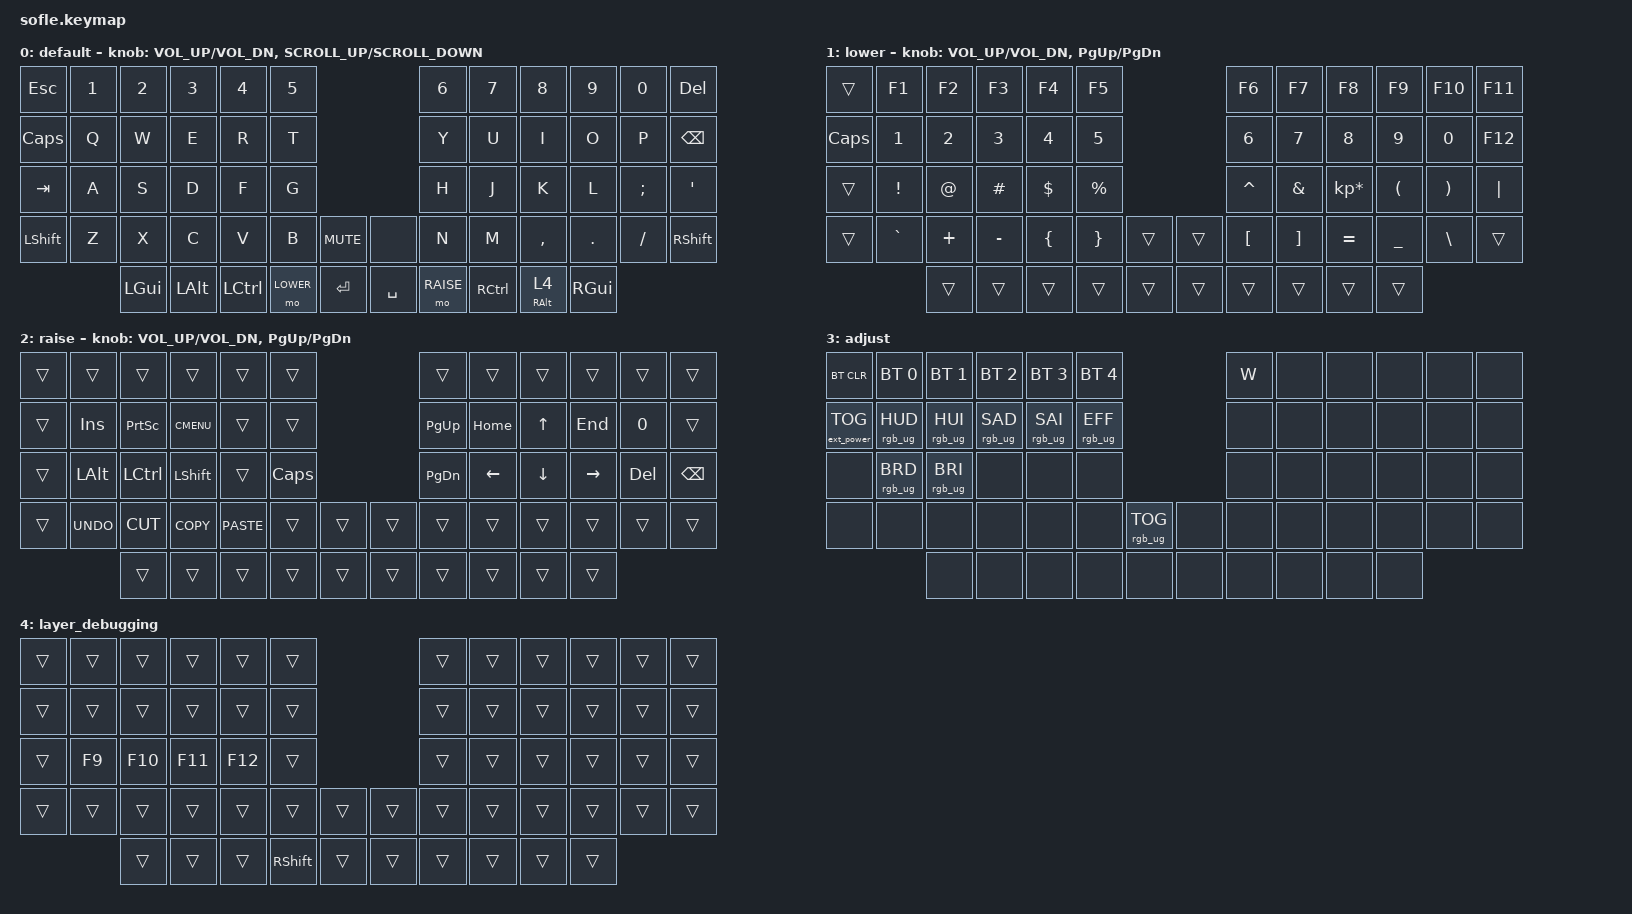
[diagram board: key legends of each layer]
/*
 * Copyright (c) 2020 The ZMK Contributors
 *
 * SPDX-License-Identifier: MIT
 */

#include <behaviors.dtsi>
#include <dt-bindings/zmk/bt.h>
#include <dt-bindings/zmk/ext_power.h>
#include <dt-bindings/zmk/keys.h>
#include <dt-bindings/zmk/rgb.h>

#define BASE 0
#define LOWER 1
#define RAISE 2
#define ADJUST 3

/ {
    // Activate ADJUST layer by pressing raise and lower

    conditional_layers {
        compatible = "zmk,conditional-layers";

        adjust_layer {
            if-layers = <LOWER RAISE>;
            then-layer = <ADJUST>;
        };
    };

    behaviors {
        tap_debug_behavior: tap_debug_behavior {
            compatible = "zmk,behavior-hold-tap";
            label = "TAP_DEBUG_BEHAVIOR";
            bindings = <&kp>, <&tog>;

            #binding-cells = <2>;
            tapping-term-ms = <250>;
            quick-tap-ms = <180>;
            hold-while-undecided;
            hold-trigger-key-positions = <0 1 2 3 4 5 6 7 8 9 10 11 12 13 14 15 16 17 18 19 20 21 22 23 24 25 26 27 28 29 30 31 32 33 34 35 36 37 38 39 40 41 42 43 44 45 46 47 48 49 50 51 52 53 54 55 56 57 59>;
            hold-trigger-on-release;
        };
    };

    keymap {
        compatible = "zmk,keymap";

        default_layer {
            label = "default";

            // ------------------------------------------------------------------------------------------------------------
            // |   `   |  1  |  2  |  3   |  4   |  5   |                   |  6   |  7    |  8    |  9   |   0   |       |
            // |  ESC  |  Q  |  W  |  E   |  R   |  T   |                   |  Y   |  U    |  I    |  O   |   P   | BKSPC |
            // |  TAB  |  A  |  S  |  D   |  F   |  G   |                   |  H   |  J    |  K    |  L   |   ;   |   '   |
            // | SHIFT |  Z  |  X  |  C   |  V   |  B   |  MUTE  |  |       |  N   |  M    |  ,    |  .   |   /   | SHIFT |
            //               | GUI | ALT  | CTRL | LOWER|  ENTER |  | SPACE | RAISE| CTRL  | ALT   | GUI  |

            bindings = <
&kp ESC       &kp N1  &kp N2    &kp N3    &kp N4     &kp N5                              &kp N6     &kp N7     &kp N8                      &kp N9    &kp N0    &kp DELETE
&kp CAPSLOCK  &kp Q   &kp W     &kp E     &kp R      &kp T                               &kp Y      &kp U      &kp I                       &kp O     &kp P     &kp BSPC
&kp TAB       &kp A   &kp S     &kp D     &kp F      &kp G                               &kp H      &kp J      &kp K                       &kp L     &kp SEMI  &kp SQT
&kp LSHFT     &kp Z   &kp X     &kp C     &kp V      &kp B      &kp C_MUTE    &none      &kp N      &kp M      &kp COMMA                   &kp DOT   &kp FSLH  &kp RSHFT
                      &kp LGUI  &kp LALT  &kp LCTRL  &mo LOWER  &kp RET       &kp SPACE  &mo RAISE  &kp RCTRL  &tap_debug_behavior RALT 4  &kp RGUI
            >;

            sensor-bindings =
                <&inc_dec_kp C_VOL_UP C_VOL_DN>,
                <&inc_dec_kp K_SCROLL_UP K_SCROLL_DOWN>;
        };

        lower_layer {
            label = "lower";

            // TODO: Some binds are waiting for shifted keycode support.
            // ------------------------------------------------------------------------------------------------------------
            // |       |  F1 |  F2 |  F3  |  F4  |  F5  |                   |  F6  |  F7   |  F8   |  F9  |  F10  |  F11  |
            // |   `   |  1  |  2  |  3   |  4   |  5   |                   |  6   |  7    |  8    |  9   |   0   |  F12  |
            // |       |  !  |  @  |  #   |  $   |  %   |                   |  ^   |  &    |  *    |  (   |   )   |   |   |
            // |       |  =  |  -  |  +   |  {   |  }   |        |  |       |  [   |  ]    |  ;    |  :   |   \   |       |
            //               |     |      |      |      |        |  |       |      |       |       |      |

            bindings = <
&trans    &kp F1     &kp F2    &kp F3     &kp F4    &kp F5                       &kp F6     &kp F7    &kp F8           &kp F9          &kp F10   &kp F11
&kp CAPS  &kp N1     &kp N2    &kp N3     &kp N4    &kp N5                       &kp N6     &kp N7    &kp N8           &kp N9          &kp N0    &kp F12
&trans    &kp EXCL   &kp AT    &kp HASH   &kp DLLR  &kp PRCNT                    &kp CARET  &kp AMPS  &kp KP_MULTIPLY  &kp LPAR        &kp RPAR  &kp PIPE
&trans    &kp GRAVE  &kp PLUS  &kp MINUS  &kp LBRC  &kp RBRC   &trans    &trans  &kp LBKT   &kp RBKT  &kp EQUAL        &kp UNDERSCORE  &kp BSLH  &trans
                     &trans    &trans     &trans    &trans     &trans    &trans  &trans     &trans    &trans           &trans
            >;

            sensor-bindings = <&inc_dec_kp C_VOL_UP C_VOL_DN &inc_dec_kp PG_UP PG_DN>;
        };

        raise_layer {
            label = "raise";

            // ------------------------------------------------------------------------------------------------------------
            // | BTCLR | BT1  | BT2  |  BT3  |  BT4  |  BT5 |                |      |      |       |      |       |       |
            // |       | INS  | PSCR | GUI   |       |      |                | PGUP |      |   ^   |      |       |       |
            // |       | ALT  | CTRL | SHIFT |       | CAPS |                | PGDN |   <- |   v   |  ->  |  DEL  | BKSPC |
            // |       | UNDO | CUT  | COPY  | PASTE |      |      |  |      |      |      |       |      |       |       |
            //                |      |       |       |      |      |  |      |      |      |       |      |

            bindings = <
&trans  &trans      &trans     &trans       &trans       &trans                      &trans     &trans    &trans    &trans     &trans   &trans
&trans  &kp INS     &kp PSCRN  &kp K_CMENU  &trans       &trans                      &kp PG_UP  &kp HOME  &kp UP    &kp END    &kp N0   &trans
&trans  &kp LALT    &kp LCTRL  &kp LSHFT    &trans       &kp CLCK                    &kp PG_DN  &kp LEFT  &kp DOWN  &kp RIGHT  &kp DEL  &kp BSPC
&trans  &kp K_UNDO  &kp K_CUT  &kp K_COPY   &kp K_PASTE  &trans    &trans    &trans  &trans     &trans    &trans    &trans     &trans   &trans
                    &trans     &trans       &trans       &trans    &trans    &trans  &trans     &trans    &trans    &trans
            >;

            sensor-bindings = <&inc_dec_kp C_VOL_UP C_VOL_DN &inc_dec_kp PG_UP PG_DN>;
        };

        adjust_layer {
            // ----------------------------------------------------------------------------------------------------------------------------
            // | BTCLR  |  BT1    |  BT2    |   BT3   |   BT4   |   BT5   |                  |      |      |       |      |       |       |
            // | EXTPWR | RGB_HUD | RGB_HUI | RGB_SAD | RGB_SAI | RGB_EFF |                  |      |      |       |      |       |       |
            // |        | RGB_BRD | RGB_BRI |         |         |         |                  |      |      |       |      |       |       |
            // |        |         |         |         |         |         | RGB_TOG | |      |      |      |       |      |       |       |
            //                    |         |         |         |         |         | |      |      |      |       |      |

            label = "adjust";
            bindings = <
&bt BT_CLR         &bt BT_SEL 0     &bt BT_SEL 1     &bt BT_SEL 2     &bt BT_SEL 3     &bt BT_SEL 4                               &kp W  &none  &none  &none  &none  &none
&ext_power EP_TOG  &rgb_ug RGB_HUD  &rgb_ug RGB_HUI  &rgb_ug RGB_SAD  &rgb_ug RGB_SAI  &rgb_ug RGB_EFF                            &none  &none  &none  &none  &none  &none
&none              &rgb_ug RGB_BRD  &rgb_ug RGB_BRI  &none            &none            &none                                      &none  &none  &none  &none  &none  &none
&none              &none            &none            &none            &none            &none            &rgb_ug RGB_TOG    &none  &none  &none  &none  &none  &none  &none
                                    &none            &none            &none            &none            &none              &none  &none  &none  &none  &none
            >;
        };

        layer_debugging {
            bindings = <
&trans  &trans  &trans   &trans   &trans   &trans                       &trans  &trans  &trans  &trans  &trans  &trans
&trans  &trans  &trans   &trans   &trans   &trans                       &trans  &trans  &trans  &trans  &trans  &trans
&trans  &kp F9  &kp F10  &kp F11  &kp F12  &trans                       &trans  &trans  &trans  &trans  &trans  &trans
&trans  &trans  &trans   &trans   &trans   &trans     &trans    &trans  &trans  &trans  &trans  &trans  &trans  &trans
                &trans   &trans   &trans   &kp RSHFT  &trans    &trans  &trans  &trans  &trans  &trans
            >;
        };
    };
};
